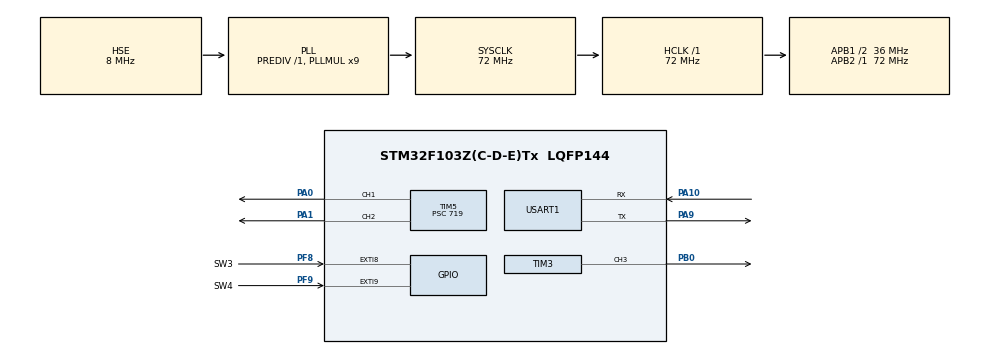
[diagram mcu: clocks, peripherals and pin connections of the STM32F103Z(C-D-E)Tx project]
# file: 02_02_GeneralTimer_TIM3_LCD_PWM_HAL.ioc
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Mcu.Family=STM32F1
Mcu.Name=STM32F103Z(C-D-E)Tx
Mcu.Package=LQFP144
NVIC.EXTI9_5_IRQn=true\:2\:0\:true\:false\:true\:true\:true\:true
NVIC.PriorityGroup=NVIC_PRIORITYGROUP_4
NVIC.TIM6_IRQn=true\:6\:0\:true\:false\:true\:true\:true\:true
NVIC.USART1_IRQn=true\:5\:0\:true\:false\:true\:true\:true\:true
OSC_IN.Mode=HSE-External-Oscillator
OSC_IN.Signal=RCC_OSC_IN
OSC_OUT.Mode=HSE-External-Oscillator
OSC_OUT.Signal=RCC_OSC_OUT
PA0-WKUP.Signal=S_TIM5_CH1
PA1.Signal=S_TIM5_CH2
PA10.Mode=Asynchronous
PA10.Signal=USART1_RX
PA13.Mode=Serial_Wire
PA13.Signal=SYS_JTMS-SWDIO
PA14.Mode=Serial_Wire
PA14.Signal=SYS_JTCK-SWCLK
PA9.Mode=Asynchronous
PA9.Signal=USART1_TX
PB0.Signal=S_TIM3_CH3
PC14-OSC32_IN.Mode=LSE-External-Oscillator
PC14-OSC32_IN.Signal=RCC_OSC32_IN
PC15-OSC32_OUT.Mode=LSE-External-Oscillator
PC15-OSC32_OUT.Signal=RCC_OSC32_OUT
PF8.GPIO_Label=SW3
PF8.GPIO_ModeDefaultEXTI=GPIO_MODE_IT_FALLING
PF8.GPIO_PuPd=GPIO_PULLUP
PF8.Signal=GPXTI8
PF9.GPIO_Label=SW4
PF9.GPIO_ModeDefaultEXTI=GPIO_MODE_IT_FALLING
PF9.GPIO_PuPd=GPIO_PULLUP
PF9.Signal=GPXTI9
ProjectManager.HeapSize=0x200
ProjectManager.StackSize=0x400
ProjectManager.TargetToolchain=MDK-ARM V5.32
RCC.AHBFreq_Value=72000000
RCC.APB1CLKDivider=RCC_HCLK_DIV2
RCC.APB1Freq_Value=36000000
RCC.APB1TimFreq_Value=72000000
RCC.APB2Freq_Value=72000000
RCC.APB2TimFreq_Value=72000000
RCC.HCLKFreq_Value=72000000
RCC.PLLMUL=RCC_PLL_MUL9
RCC.PLLSourceVirtual=RCC_PLLSOURCE_HSE
RCC.SYSCLKFreq_VALUE=72000000
RCC.SYSCLKSource=RCC_SYSCLKSOURCE_PLLCLK
RCC.USBFreq_Value=72000000
SH.S_TIM3_CH3.0=TIM3_CH3,PWM Generation3 CH3
SH.S_TIM5_CH1.0=TIM5_CH1,PWM Generation1 CH1
SH.S_TIM5_CH2.0=TIM5_CH2,PWM Generation2 CH2
TIM3.Channel-PWM\ Generation3\ CH3=TIM_CHANNEL_3
TIM3.OC3Preload_PWM=DISABLE
TIM3.Period=99
TIM3.Prescaler=719
TIM5.Channel-PWM\ Generation1\ CH1=TIM_CHANNEL_1
TIM5.Channel-PWM\ Generation2\ CH2=TIM_CHANNEL_2
TIM5.OC1Preload_PWM=DISABLE
TIM5.OC2Preload_PWM=DISABLE
TIM5.OCPolarity_1=TIM_OCPOLARITY_LOW
TIM5.Period=99
TIM5.Prescaler=719
TIM6.AutoReloadPreload=TIM_AUTORELOAD_PRELOAD_DISABLE
TIM6.Period=999
TIM6.Prescaler=7199
USART1.VirtualMode=VM_ASYNC
VP_TIM3_VS_ClockSourceINT.Mode=Internal
VP_TIM5_VS_ClockSourceINT.Mode=Internal
VP_TIM6_VS_ClockSourceINT.Mode=Enable_Timer
board=custom

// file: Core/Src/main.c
/* USER CODE BEGIN Header */
/**
  ******************************************************************************
  * @file           : main.c
  * @brief          : Main program body
  ******************************************************************************
  * @attention
  *
  * Copyright (c) 2025 STMicroelectronics.
  * All rights reserved.
  *
  * This software is licensed under terms that can be found in the LICENSE file
  * in the root directory of this software component.
  * If no LICENSE file comes with this software, it is provided AS-IS.
  *
  ******************************************************************************
  */
/* USER CODE END Header */
#include "main.h"
#include "tim.h"
#include "usart.h"
#include "gpio.h"

void SystemClock_Config(void);

/* USER CODE BEGIN 0 */

uint8_t g_pwm_duty = 0; //记录 TIM5_CH2 输出 PWM 的占空比

// 重定义 按键 弱函数
void HAL_GPIO_EXTI_Callback(uint16_t GPIO_Pin)
{
  // 判断是否是 SW3
  if (GPIO_Pin == SW3_Pin)
  {
    HAL_Delay(10);
    if (HAL_GPIO_ReadPin(SW3_GPIO_Port,SW3_Pin) == GPIO_PIN_RESET)
    {

      if (g_pwm_duty < 100)
      {
        g_pwm_duty += 10;

        printf("g_pwm_duty:%d",g_pwm_duty);
      __HAL_TIM_SET_COMPARE(&htim3,TIM_CHANNEL_3,g_pwm_duty);
      // __HAL_TIM_SetCompare(&htim3,TIM_CHANNEL_3,g_pwm_duty);
      }
    }
  }
  // 判断是否是 SW4
  if (GPIO_Pin == SW4_Pin)
  {
    HAL_Delay(10);
    if (HAL_GPIO_ReadPin(SW4_GPIO_Port,SW4_Pin) == GPIO_PIN_RESET)
    {

      if (g_pwm_duty > 0)
      {
        g_pwm_duty -= 10;

        printf("g_pwm_duty:%d",g_pwm_duty);
      __HAL_TIM_SET_COMPARE(&htim3,TIM_CHANNEL_3,g_pwm_duty);
      }
    }
  }
}

// // 重定义 TIM6 弱函数
// void HAL_TIM_PeriodElapsedCallback(TIM_HandleTypeDef *htim)
// {
//   if (htim == &htim6)
//   {
//     if (g_pwm_duty > 100)
//     {
//       g_pwm_duty = 100;
//     }
//     if (g_pwm_duty < 0)
//     {
//       g_pwm_duty = 0;
//     }
//     printf("g_pwm_duty:%d",g_pwm_duty);

//     __HAL_TIM_SET_COMPARE(&htim3,TIM_CHANNEL_3,g_pwm_duty);

//   }

// }

/* USER CODE END 0 */

int main(void)
{

  /* MCU Configuration--------------------------------------------------------*/

  /* Reset of all peripherals, Initializes the Flash interface and the Systick. */
  HAL_Init();

  /* Configure the system clock */
  SystemClock_Config();

  /* Initialize all configured peripherals */
  MX_GPIO_Init();
  MX_USART1_UART_Init();
  MX_TIM6_Init();
  MX_TIM5_Init();
  MX_TIM3_Init();
  /* USER CODE BEGIN 2 */
  printf("HAL TIM3 :");
  HAL_TIM_Base_Start_IT(&htim6);
  HAL_TIM_PWM_Start(&htim3,TIM_CHANNEL_3);
  __HAL_TIM_SET_COMPARE(&htim3,TIM_CHANNEL_3,g_pwm_duty);

  /* USER CODE END 2 */

  /* Infinite loop */
  while (1)
  {

  }
}

void SystemClock_Config(void)
{
  RCC_OscInitTypeDef RCC_OscInitStruct = {0};
  RCC_ClkInitTypeDef RCC_ClkInitStruct = {0};

  /** Initializes the RCC Oscillators according to the specified parameters
  * in the RCC_OscInitTypeDef structure.
  */
  RCC_OscInitStruct.OscillatorType = RCC_OSCILLATORTYPE_HSE;
  RCC_OscInitStruct.HSEState = RCC_HSE_ON;
  RCC_OscInitStruct.HSEPredivValue = RCC_HSE_PREDIV_DIV1;
  RCC_OscInitStruct.HSIState = RCC_HSI_ON;
  RCC_OscInitStruct.PLL.PLLState = RCC_PLL_ON;
  RCC_OscInitStruct.PLL.PLLSource = RCC_PLLSOURCE_HSE;
  RCC_OscInitStruct.PLL.PLLMUL = RCC_PLL_MUL9;
  if (HAL_RCC_OscConfig(&RCC_OscInitStruct) != HAL_OK)
  {
    Error_Handler();
  }

  /** Initializes the CPU, AHB and APB buses clocks
  */
  RCC_ClkInitStruct.ClockType = RCC_CLOCKTYPE_HCLK|RCC_CLOCKTYPE_SYSCLK
                              |RCC_CLOCKTYPE_PCLK1|RCC_CLOCKTYPE_PCLK2;
  RCC_ClkInitStruct.SYSCLKSource = RCC_SYSCLKSOURCE_PLLCLK;
  RCC_ClkInitStruct.AHBCLKDivider = RCC_SYSCLK_DIV1;
  RCC_ClkInitStruct.APB1CLKDivider = RCC_HCLK_DIV2;
  RCC_ClkInitStruct.APB2CLKDivider = RCC_HCLK_DIV1;

  if (HAL_RCC_ClockConfig(&RCC_ClkInitStruct, FLASH_LATENCY_2) != HAL_OK)
  {
    Error_Handler();
  }
}

void Error_Handler(void)
{
  __disable_irq();
  while (1)
  {
  }
}
